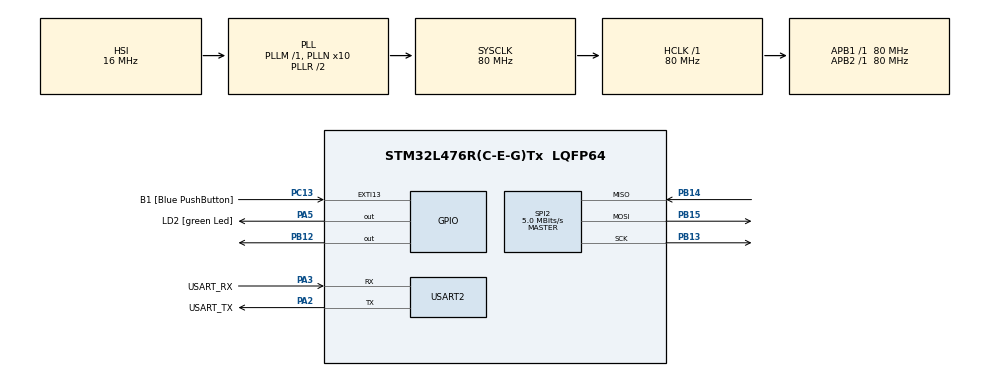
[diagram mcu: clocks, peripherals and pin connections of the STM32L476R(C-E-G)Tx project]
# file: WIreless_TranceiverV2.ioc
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Mcu.Family=STM32L4
Mcu.Name=STM32L476R(C-E-G)Tx
Mcu.Package=LQFP64
NVIC.PriorityGroup=NVIC_PRIORITYGROUP_4
PA13\ (JTMS-SWDIO).GPIO_Label=TMS
PA13\ (JTMS-SWDIO).Mode=Serial_Wire
PA13\ (JTMS-SWDIO).Signal=SYS_JTMS-SWDIO
PA14\ (JTCK-SWCLK).GPIO_Label=TCK
PA14\ (JTCK-SWCLK).Mode=Serial_Wire
PA14\ (JTCK-SWCLK).Signal=SYS_JTCK-SWCLK
PA2.GPIO_Label=USART_TX
PA2.GPIO_Mode=GPIO_MODE_AF_PP
PA2.GPIO_PuPd=GPIO_NOPULL
PA2.GPIO_Speed=GPIO_SPEED_FREQ_VERY_HIGH
PA2.Mode=Asynchronous
PA2.Signal=USART2_TX
PA3.GPIO_Label=USART_RX
PA3.GPIO_Mode=GPIO_MODE_AF_PP
PA3.GPIO_PuPd=GPIO_NOPULL
PA3.GPIO_Speed=GPIO_SPEED_FREQ_VERY_HIGH
PA3.Mode=Asynchronous
PA3.Signal=USART2_RX
PA5.GPIO_Label=LD2 [green Led]
PA5.GPIO_ModeDefaultOutputPP=GPIO_MODE_OUTPUT_PP
PA5.GPIO_PuPd=GPIO_NOPULL
PA5.GPIO_Speed=GPIO_SPEED_FREQ_LOW
PA5.Signal=GPIO_Output
PB12.PinState=GPIO_PIN_SET
PB12.Signal=GPIO_Output
PB13.Mode=Full_Duplex_Master
PB13.Signal=SPI2_SCK
PB14.Mode=Full_Duplex_Master
PB14.Signal=SPI2_MISO
PB15.Mode=Full_Duplex_Master
PB15.Signal=SPI2_MOSI
PB3\ (JTDO-TRACESWO).GPIO_Label=SWO
PB3\ (JTDO-TRACESWO).Signal=SYS_JTDO-SWO
PC13.GPIO_Label=B1 [Blue PushButton]
PC13.GPIO_ModeDefaultEXTI=GPIO_MODE_IT_FALLING
PC13.GPIO_PuPd=GPIO_NOPULL
PC13.Signal=GPXTI13
PC14-OSC32_IN\ (PC14).Mode=LSE-External-Oscillator
PC14-OSC32_IN\ (PC14).Signal=RCC_OSC32_IN
PC15-OSC32_OUT\ (PC15).Mode=LSE-External-Oscillator
PC15-OSC32_OUT\ (PC15).Signal=RCC_OSC32_OUT
PH0-OSC_IN\ (PH0).Signal=RCC_OSC_IN
PH1-OSC_OUT\ (PH1).Signal=RCC_OSC_OUT
ProjectManager.HeapSize=0x200
ProjectManager.StackSize=0x400
ProjectManager.TargetToolchain=STM32CubeIDE
RCC.ADCFreq_Value=64000000
RCC.AHBFreq_Value=80000000
RCC.APB1Freq_Value=80000000
RCC.APB1TimFreq_Value=80000000
RCC.APB2Freq_Value=80000000
RCC.APB2TimFreq_Value=80000000
RCC.CortexFreq_Value=80000000
RCC.HCLKFreq_Value=80000000
RCC.HSE_VALUE=8000000
RCC.HSI_VALUE=16000000
RCC.MSI_VALUE=4000000
RCC.PLLN=10
RCC.PLLSourceVirtual=RCC_PLLSOURCE_HSI
RCC.PREFETCH_ENABLE=1
RCC.SYSCLKFreq_VALUE=80000000
RCC.SYSCLKSource=RCC_SYSCLKSOURCE_PLLCLK
RCC.USBFreq_Value=64000000
RCC.VCOOutputFreq_Value=160000000
SPI2.BaudRatePrescaler=SPI_BAUDRATEPRESCALER_16
SPI2.CalculateBaudRate=5.0 MBits/s
SPI2.DataSize=SPI_DATASIZE_8BIT
SPI2.Direction=SPI_DIRECTION_2LINES
SPI2.Mode=SPI_MODE_MASTER
SPI2.NSSPMode=SPI_NSS_PULSE_DISABLE
SPI2.VirtualType=VM_MASTER
USART2.VirtualMode-Asynchronous=VM_ASYNC
board=NUCLEO-L476RG

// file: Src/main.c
/* USER CODE BEGIN Header */
/**
  ******************************************************************************
  * @file           : main.c
  * @brief          : Main program body
  ******************************************************************************
  * @attention
  *
  * Copyright (c) 2026 STMicroelectronics.
  * All rights reserved.
  *
  * This software is licensed under terms that can be found in the LICENSE file
  * in the root directory of this software component.
  * If no LICENSE file comes with this software, it is provided AS-IS.
  *
  ******************************************************************************
  */
/* USER CODE END Header */
#include <stdio.h>
#include "port.h"
#include "nrf24.h"
#include "link_SR.h"

/* USER CODE BEGIN PD */
#define NODE_SENDER 1	//1 = sender board, 0 = receiver board

/* USER CODE END PD */

SPI_HandleTypeDef hspi2;

UART_HandleTypeDef huart2;

/* USER CODE BEGIN PV */

static const nrf24_cfg_t radio_cfg = {
		.channel = 76,		//2.476 GHz (above wifi)
		.rf_setup = 0x24,	//250 kbps, - 6 dBm
		.addr = {0xE7, 0xE7, 0xE7, 0xE7, 0xE7}
};

/* USER CODE END PV */

void SystemClock_Config(void);
static void MX_GPIO_Init(void);
static void MX_SPI2_Init(void);
static void MX_USART2_UART_Init(void);

/* USER CODE BEGIN 0 */

static void print_stats(void){
	const link_stats_t *s = link_stats();
	char buf[200];
	snprintf(buf, sizeof(buf), "frames %lu confirmed %lu bursts %lu polls %lu ack_to %lu "
            "rx_ok %lu dup %lu acks %lu crc %lu radio_err %lu\r\n",
			(unsigned long)s->frames_sent, (unsigned long)s->tx_ok,
			(unsigned long)s->bursts, (unsigned long)s->polls_sent,
			(unsigned long)s->ack_timeouts, (unsigned long)s->rx_ok,
			(unsigned long)s->rx_dup, (unsigned long)s->acks_sent,
			(unsigned long)s->crc_fail, (unsigned long)s->radio_err);

	port_log(buf);
}

/* USER CODE END 0 */

int main(void)
{

  /* MCU Configuration--------------------------------------------------------*/

  /* Reset of all peripherals, Initializes the Flash interface and the Systick. */
  HAL_Init();

  /* Configure the system clock */
  SystemClock_Config();

  /* Initialize all configured peripherals */
  MX_GPIO_Init();
  MX_SPI2_Init();
  MX_USART2_UART_Init();
  /* USER CODE BEGIN 2 */

  port_init();
  port_log(NODE_SENDER ? "\r\n[sender]\r\n" : "\r\n[receiver]\r\n");

  if (nrf24_init(&radio_cfg) != NRF_OK){
	  //Register readback didnt match
	  //Hardware issue
	  port_log("nrf24 config readback FAILED\r\n");
	  while(1){
          HAL_GPIO_TogglePin(LD2_GPIO_Port, LD2_Pin);   //fast blink = error
          HAL_Delay(100);
	  }

  }

  port_log("nrf24 config OK\r\n");
  link_init();

  /* USER CODE END 2 */

  /* Infinite loop */
  while (1)
  {

    /* USER CODE BEGIN 3 */
#if NODE_SENDER
	  static uint32_t n = 0, last = 0;
	  if(HAL_GetTick() - last >= 100){ //(around 10 msgs)
		  last = HAL_GetTick();
		  char msg[LINK_MAX_DATA + 1];
		  int len = snprintf(msg, sizeof(msg), "msg %lu", (unsigned long)n++);

		  //link_send only queues
		  //flush pushes it out
		  if(link_send((const uint8_t *)msg, (uint8_t)len) != LINK_OK ||
		  	  link_flush() != LINK_OK){
			  port_log("send FAILED\r\n");
		  }

		  HAL_GPIO_TogglePin(LD2_GPIO_Port, LD2_Pin);	//Blink per sent message
		  if (n % 50 == 0) print_stats();
	  }

#else
	  uint8_t data[LINK_MAX_DATA + 1], len;
	  if (link_poll_recv(data, &len)){
		  data[len] = '\0';
		  port_log((const char *)data);
		  port_log("\r\n");
		  HAL_GPIO_ToggePin(LD2_GPIO_Port, LD2_Pin);	//blink per received message
		  if (link_stats()->rx_ok % 50 == 0) print_stats();
	  }
#endif

  }
  /* USER CODE END 3 */
}

void SystemClock_Config(void)
{
  RCC_OscInitTypeDef RCC_OscInitStruct = {0};
  RCC_ClkInitTypeDef RCC_ClkInitStruct = {0};

  /** Configure the main internal regulator output voltage
  */
  if (HAL_PWREx_ControlVoltageScaling(PWR_REGULATOR_VOLTAGE_SCALE1) != HAL_OK)
  {
    Error_Handler();
  }

  /** Initializes the RCC Oscillators according to the specified parameters
  * in the RCC_OscInitTypeDef structure.
  */
  RCC_OscInitStruct.OscillatorType = RCC_OSCILLATORTYPE_HSI;
  RCC_OscInitStruct.HSIState = RCC_HSI_ON;
  RCC_OscInitStruct.HSICalibrationValue = RCC_HSICALIBRATION_DEFAULT;
  RCC_OscInitStruct.PLL.PLLState = RCC_PLL_ON;
  RCC_OscInitStruct.PLL.PLLSource = RCC_PLLSOURCE_HSI;
  RCC_OscInitStruct.PLL.PLLM = 1;
  RCC_OscInitStruct.PLL.PLLN = 10;
  RCC_OscInitStruct.PLL.PLLP = RCC_PLLP_DIV7;
  RCC_OscInitStruct.PLL.PLLQ = RCC_PLLQ_DIV2;
  RCC_OscInitStruct.PLL.PLLR = RCC_PLLR_DIV2;
  if (HAL_RCC_OscConfig(&RCC_OscInitStruct) != HAL_OK)
  {
    Error_Handler();
  }

  /** Initializes the CPU, AHB and APB buses clocks
  */
  RCC_ClkInitStruct.ClockType = RCC_CLOCKTYPE_HCLK|RCC_CLOCKTYPE_SYSCLK
                              |RCC_CLOCKTYPE_PCLK1|RCC_CLOCKTYPE_PCLK2;
  RCC_ClkInitStruct.SYSCLKSource = RCC_SYSCLKSOURCE_PLLCLK;
  RCC_ClkInitStruct.AHBCLKDivider = RCC_SYSCLK_DIV1;
  RCC_ClkInitStruct.APB1CLKDivider = RCC_HCLK_DIV1;
  RCC_ClkInitStruct.APB2CLKDivider = RCC_HCLK_DIV1;

  if (HAL_RCC_ClockConfig(&RCC_ClkInitStruct, FLASH_LATENCY_4) != HAL_OK)
  {
    Error_Handler();
  }
}

static void MX_SPI2_Init(void)
{

  /* SPI2 parameter configuration*/
  hspi2.Instance = SPI2;
  hspi2.Init.Mode = SPI_MODE_MASTER;
  hspi2.Init.Direction = SPI_DIRECTION_2LINES;
  hspi2.Init.DataSize = SPI_DATASIZE_8BIT;
  hspi2.Init.CLKPolarity = SPI_POLARITY_LOW;
  hspi2.Init.CLKPhase = SPI_PHASE_1EDGE;
  hspi2.Init.NSS = SPI_NSS_SOFT;
  hspi2.Init.BaudRatePrescaler = SPI_BAUDRATEPRESCALER_16;
  hspi2.Init.FirstBit = SPI_FIRSTBIT_MSB;
  hspi2.Init.TIMode = SPI_TIMODE_DISABLE;
  hspi2.Init.CRCCalculation = SPI_CRCCALCULATION_DISABLE;
  hspi2.Init.CRCPolynomial = 7;
  hspi2.Init.CRCLength = SPI_CRC_LENGTH_DATASIZE;
  hspi2.Init.NSSPMode = SPI_NSS_PULSE_DISABLE;
  if (HAL_SPI_Init(&hspi2) != HAL_OK)
  {
    Error_Handler();
  }

}

static void MX_USART2_UART_Init(void)
{

  huart2.Instance = USART2;
  huart2.Init.BaudRate = 115200;
  huart2.Init.WordLength = UART_WORDLENGTH_8B;
  huart2.Init.StopBits = UART_STOPBITS_1;
  huart2.Init.Parity = UART_PARITY_NONE;
  huart2.Init.Mode = UART_MODE_TX_RX;
  huart2.Init.HwFlowCtl = UART_HWCONTROL_NONE;
  huart2.Init.OverSampling = UART_OVERSAMPLING_16;
  huart2.Init.OneBitSampling = UART_ONE_BIT_SAMPLE_DISABLE;
  huart2.AdvancedInit.AdvFeatureInit = UART_ADVFEATURE_NO_INIT;
  if (HAL_UART_Init(&huart2) != HAL_OK)
  {
    Error_Handler();
  }

}

static void MX_GPIO_Init(void)
{
  GPIO_InitTypeDef GPIO_InitStruct = {0};

  /* GPIO Ports Clock Enable */
  __HAL_RCC_GPIOC_CLK_ENABLE();
  __HAL_RCC_GPIOH_CLK_ENABLE();
  __HAL_RCC_GPIOA_CLK_ENABLE();
  __HAL_RCC_GPIOB_CLK_ENABLE();

  /*Configure GPIO pin Output Level */
  HAL_GPIO_WritePin(LD2_GPIO_Port, LD2_Pin, GPIO_PIN_RESET);

  /*Configure GPIO pin Output Level */
  HAL_GPIO_WritePin(GPIOB, GPIO_PIN_12, GPIO_PIN_SET);

  /*Configure GPIO pin : B1_Pin */
  GPIO_InitStruct.Pin = B1_Pin;
  GPIO_InitStruct.Mode = GPIO_MODE_IT_FALLING;
  GPIO_InitStruct.Pull = GPIO_NOPULL;
  HAL_GPIO_Init(B1_GPIO_Port, &GPIO_InitStruct);

  /*Configure GPIO pin : LD2_Pin */
  GPIO_InitStruct.Pin = LD2_Pin;
  GPIO_InitStruct.Mode = GPIO_MODE_OUTPUT_PP;
  GPIO_InitStruct.Pull = GPIO_NOPULL;
  GPIO_InitStruct.Speed = GPIO_SPEED_FREQ_LOW;
  HAL_GPIO_Init(LD2_GPIO_Port, &GPIO_InitStruct);

  /*Configure GPIO pin : PB12 */
  GPIO_InitStruct.Pin = GPIO_PIN_12;
  GPIO_InitStruct.Mode = GPIO_MODE_OUTPUT_PP;
  GPIO_InitStruct.Pull = GPIO_NOPULL;
  GPIO_InitStruct.Speed = GPIO_SPEED_FREQ_LOW;
  HAL_GPIO_Init(GPIOB, &GPIO_InitStruct);

}

void Error_Handler(void)
{
  __disable_irq();
  while (1)
  {
  }
}
